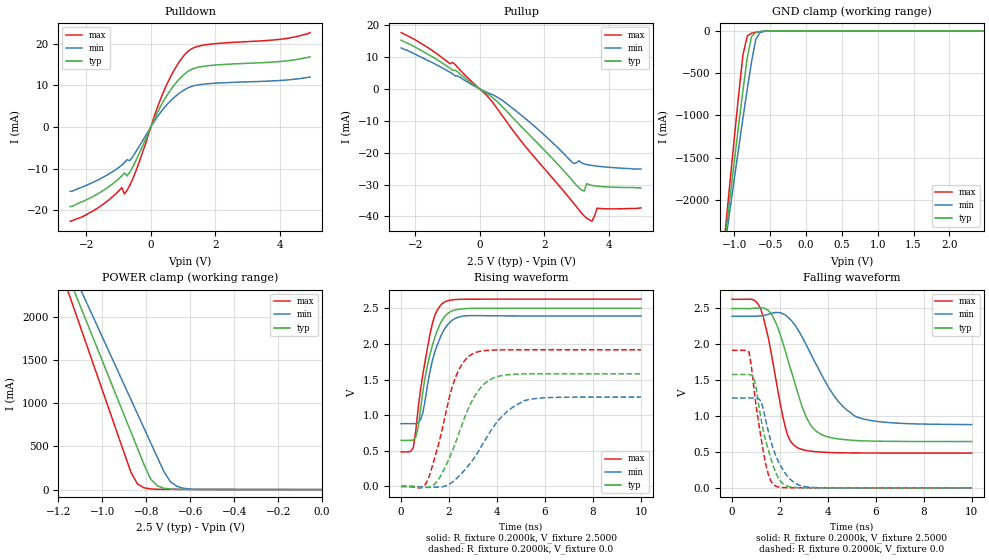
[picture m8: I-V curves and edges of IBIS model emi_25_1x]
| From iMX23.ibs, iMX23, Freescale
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|   Model emi_25_1x
[Model]  emi_25_1x
Model_type I/O
Polarity   Non-Inverting
Enable   Active-Low
Vinl =   0.5000V
Vinh =   2.0000V
Vmeas =  1.2500V
Cref =   5.0000pF
Rref =   0.2000k
Vref =   1.2500V
C_comp   3.0000pF   2.0000pF   4.0000pF
[Temperature Range]   50.0000   100.0000   0.0
[Voltage Range]   2.5000V   2.3000V   2.7000V
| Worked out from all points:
|   slope of the pulldown table from 0 to 0.375 V, typ, clamps not added: 62.6 ohm
|   slope of the pullup table from 0 to 0.375 V, typ, clamps not added: 149 ohm
|   GND clamp passes 1 mA (typ) near -0.51 V on its own axis
|   POWER clamp passes 1 mA (typ) near -0.47 V on its own axis
|   rising waveform, R_fixture 0.2000k, V_fixture 2.5000: 20-80 % time 663ps typ, 645ps min, 593ps max; typ from 0.645 V to 2.5 V
|   rising waveform, R_fixture 0.2000k, V_fixture 0.0: 20-80 % time 1.17ns typ, 1.56ns min, 891ps max; typ from 0 V to 1.58 V
|   falling waveform, R_fixture 0.2000k, V_fixture 2.5000: 20-80 % time 1.04ns typ, 1.54ns min, 740ps max; typ from 2.5 V to 0.645 V
|   falling waveform, R_fixture 0.2000k, V_fixture 0.0: 20-80 % time 643ps typ, 762ps min, 512ps max; typ from 1.58 V to 0 V
[Pulldown]
|Voltage   I(typ)   I(min)   I(max)
-2.5V     -19.2mA    -15.5mA    -22.7mA
-1.62V    -15.96mA   -12.66mA   -19.35mA
-900mV    -11.77mA   -9.16mA    -14.59mA
-820mV    -11.1mA    -8.554mA   -16.14mA
-740mV    -11.77mA   -7.901mA   -15.27mA
-580mV    -9.883mA   -7.346mA   -12.82mA
460mV     7.107mA    5.026mA    9.645mA
860mV     11.33mA    7.98mA     15.42mA
1.18V     13.51mA    9.492mA    18.36mA
1.66V     14.62mA    10.31mA    19.71mA
3.98V     15.72mA    11.17mA    21.05mA
4.94V     16.9mA     12mA       22.7mA
[Pullup]
|Voltage   I(typ)   I(min)   I(max)
-2.44V    15.3mA     12.9mA     17.7mA
-920mV    6.498mA    5.23mA     7.91mA
-840mV    5.871mA    4.679mA    8.338mA
200mV     -1.298mA   -956.6uA   -1.865mA
1.32V     -12.14mA   -8.494mA   -16.82mA
2.92V     -29.3mA    -23.39mA   -35.93mA
3.08V     -31.04mA   -22.56mA   -37.97mA
3.24V     -32mA      -23.51mA   -39.86mA
3.32V     -29.68mA   -23.71mA   -40.55mA
3.48V     -30.25mA   -23.99mA   -41.51mA
3.64V     -30.47mA   -24.2mA    -37.4mA
5V        -31mA      -25.1mA    -37.3mA
[GND_clamp]
|Voltage   I(typ)   I(min)   I(max)
-2.5V     -12.6A     -11.09A    -14.83A
-1.12V    -2.401A    -2.48A     -2.313A
-1.06V    -1.968A    -2.113A    -1.785A
-1V       -1.54A     -1.749A    -1.265A
-940mV    -1.118A    -1.389A    -760.3mA
-880mV    -708.3mA   -1.036A    -287.2mA
-820mV    -322.2mA   -692.9mA   -61.61mA
-760mV    -68.71mA   -367.6mA   -28.08mA
-700mV    -18.15mA   -99.37mA   -17.8mA
-640mV    -7.575mA   -19.58mA   -10.63mA
-580mV    -3.298mA   -4.307mA   -5.307mA
2.48V     12.62uA    180.9uA    9.733uA
[POWER_clamp]
|Voltage   I(typ)   I(min)   I(max)
-2.49V    12.1A      11.1A      13.45A
-1.17V    2.569A     2.716A     2.401A
-1.14V    2.379A     2.549A     2.182A
-1.11V    2.189A     2.382A     1.961A
-1.08V    1.999A     2.215A     1.741A
-870mV    669.7mA    1.045A     203.4mA
-840mV    479.8mA    877.9mA    65.55mA
-780mV    122.3mA    543.7mA    7.727mA
-750mV    44.8mA     376.6mA    3.933mA
-690mV    6.713mA    90.55mA    2.383mA
-630mV    2.032mA    15.49mA    2.051mA
0V        16.54uA    11.6uA     25.87uA
[Ramp]
| variable   typ   min   max
dV/dt_r  0.9478/1.1563n   0.7520/1.5499n   1.1500/0.8806n
dV/dt_f  1.1119/1.0316n   0.9043/1.4991n   1.3002/0.7350n
R_load = 0.2000k
[Rising Waveform]
R_fixture= 0.2000k
V_fixture= 2.5000
|time   V(typ)   V(min)   V(max)
0s        645.3mV    880.5mV    484.8mV
510ps     652.7mV    880.6mV    546.6mV
710ps     823.7mV    893.3mV    1.098V
810ps     1.089V     937mV      1.362V
1.01ns    1.55V      1.228V     1.778V
1.31ns    1.985V     1.776V     2.295V
1.52ns    2.195V     1.997V     2.481V
1.82ns    2.386V     2.214V     2.589V
2.73ns    2.496V     2.394V     2.626V
10ns      2.499V     2.391V     2.628V
[Rising Waveform]
R_fixture= 0.2000k
V_fixture= 0.0
|time   V(typ)   V(min)   V(max)
0s        0V         0V         0V
1.01ns    -15.03mV   -11.68mV   26.88mV
1.52ns    79.01mV    -9.308mV   541.5mV
2.22ns    568.1mV    83.24mV    1.487V
2.53ns    855mV      184.3mV    1.707V
2.93ns    1.184V     343.7mV    1.851V
3.74ns    1.504V     782mV      1.912V
4.44ns    1.567V     1.058V     1.916V
5.15ns    1.578V     1.205V     1.917V
10ns      1.58V      1.253V     1.917V
[Falling Waveform]
R_fixture= 0.2000k
V_fixture= 2.5000
|time   V(typ)   V(min)   V(max)
0s        2.499V     2.391V     2.628V
910ps     2.502V     2.391V     2.618V
1.21ns    2.508V     2.397V     2.479V
1.72ns    2.378V     2.438V     1.724V
2.22ns    1.912V     2.411V     852.1mV
2.73ns    1.338V     2.214V     559.8mV
3.54ns    782.6mV    1.704V     503.1mV
4.44ns    682.3mV    1.201V     489.5mV
5.15ns    659.7mV    995.1mV    486.3mV
10ns      645.4mV    882.2mV    484.8mV
[Falling Waveform]
R_fixture= 0.2000k
V_fixture= 0.0
|time   V(typ)   V(min)   V(max)
0s        1.58V      1.253V     1.917V
710ps     1.579V     1.253V     1.892V
910ps     1.543V     1.253V     1.4V
1.21ns    960.3mV    1.206V     703.9mV
1.41ns    650.1mV    936.2mV    322.6mV
1.62ns    410.3mV    650.8mV    96.05mV
1.82ns    217.1mV    454.4mV    23.73mV
2.42ns    14.07mV    121.1mV    1.707mV
3.03ns    1.868mV    17.98mV    676.7uV
10ns      677.1nV    7.593uV    0V
